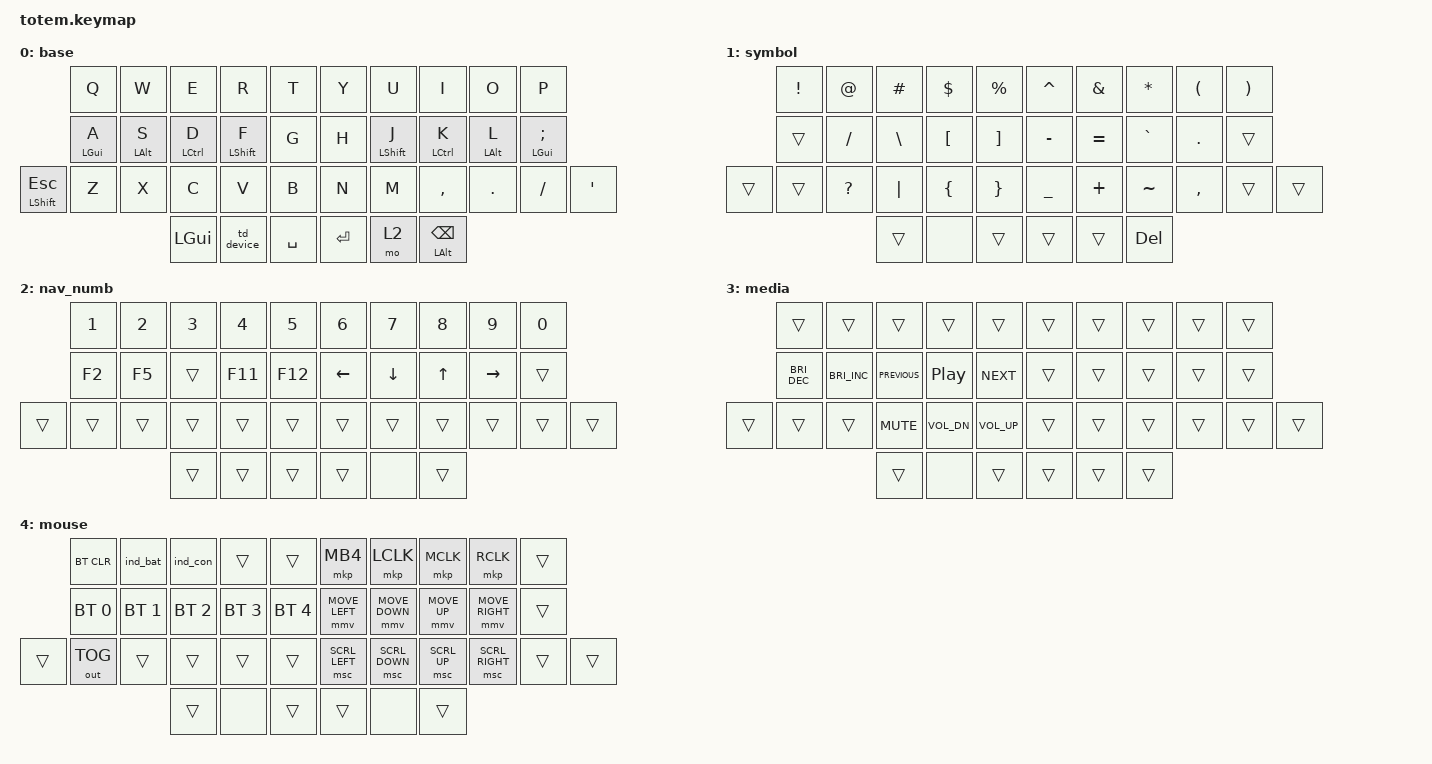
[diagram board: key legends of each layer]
//
//                                                        ▀▀▀▀▀     ▀▀▀▀▀          ▀▀█▀▀
//                                                        ▄▀▀▀▄  ▄  ▄▀▀▀▄  ▄  ▄▀▀▀▄  █  ▄▀▀▀▄
//                                                        █   █  █  █   █  █  █   █  █  █   █
//                                                         ▀▀▀   █   ▀▀▀   █   ▀▀▀   ▀   ▀▀▀
//                                                               █      ▄▄▄█▄▄▄    █   █
//                                                               ▀      █  █  █     █▄█
//                                                             ▀▀▀▀▀    █  █  █      ▀
//                                                                      ▀  ▀  ▀
//
// ▄▄▄▄▄▄▄▄▄▄▄▄▄▄▄▄▄▄▄▄▄▄▄▄▄▄▄▄▄▄▄▄▄▄▄▄▄▄▄▄▄▄▄▄▄▄▄▄▄▄▄▄▄▄▄▄▄▄▄▄▄▄▄▄▄▄▄▄▄▄▄▄▄▄▄▄▄▄▄▄▄▄▄▄▄▄▄▄▄▄▄▄▄▄▄▄▄▄▄▄▄▄▄▄▄▄▄▄▄▄▄▄▄▄▄▄▄▄▄▄▄▄▄▄▄▄▄▄▄▄▄▄▄▄▄▄▄▄▄▄▄▄▄▄▄▄▄▄▄

#include <behaviors.dtsi>
#include <dt-bindings/zmk/bt.h>
#include <dt-bindings/zmk/keys.h>
#include <dt-bindings/zmk/outputs.h>
#include <dt-bindings/zmk/pointing.h>
#include <behaviors/rgbled_widget.dtsi>

&mmv {
    time-to-max-speed-ms = <100>;
    acceleration-exponent = <1>;
    delay-ms = <0>;
};

&msc {
    time-to-max-speed-ms = <100>;
    acceleration-exponent = <12>;
    delay-ms = <0>;
};

/ {
    combos {
        compatible = "zmk,combos";

        tab_combo {
            bindings = <&kp TAB>;
            key-positions = <0 1>;
            slow-release;
            layers = <0>;
        };

        ctr_a_combo {
            bindings = <&kp LC(A)>;
            key-positions = <11 12>;
            slow-release;
            layers = <0>;
        };

        ctr_w_combo {
            bindings = <&kp LC(W)>;
            key-positions = <1 2>;
            slow-release;
            layers = <0>;
        };

        bks_combo {
            bindings = <&kp BACKSPACE>;
            key-positions = <16 17>;
            slow-release;
            layers = <0>;
        };

        del_combo {
            bindings = <&kp DELETE>;
            key-positions = <18 19>;
            slow-release;
            layers = <0>;
        };

        home_combo {
            bindings = <&kp HOME>;
            key-positions = <15 16>;
            slow-release;
            layers = <0>;
        };

        end_combo {
            bindings = <&kp END>;
            key-positions = <17 18>;
            slow-release;
            layers = <0>;
        };

        pgup_combo {
            bindings = <&kp PG_UP>;
            key-positions = <5 6>;
            slow-release;
            layers = <0>;
        };

        pgdown_combo {
            bindings = <&kp PAGE_DOWN>;
            key-positions = <26 27>;
            slow-release;
            layers = <0>;
        };

        esc_combo {
            bindings = <&kp ESCAPE>;
            key-positions = <10 11>;
        };
    };

    behaviors {
        hrm_left: hrm_left {
            compatible = "zmk,behavior-hold-tap";
            label = "HRM_LEFT";
            bindings = <&kp>, <&kp>;

            #binding-cells = <2>;
            tapping-term-ms = <250>;
            require-prior-idle-ms = <100>;
            flavor = "balanced";
            hold-trigger-on-release;
            hold-trigger-key-positions = <5 6 7 8 9 15 16 17 18 19 26 27 28 29 30 31 35 36 37>;
            quick-tap-ms = <150>;
        };

        hrm_right: hrm_right {
            compatible = "zmk,behavior-hold-tap";
            label = "HRM_RIGHT";
            bindings = <&kp>, <&kp>;

            #binding-cells = <2>;
            tapping-term-ms = <250>;
            require-prior-idle-ms = <100>;
            flavor = "balanced";
            hold-trigger-on-release;
            hold-trigger-key-positions = <0 1 2 3 4 10 11 12 13 14 20 21 22 23 24 25 32 33 34>;
            quick-tap-ms = <150>;
        };

        ht_mod: ht_mod {
            compatible = "zmk,behavior-hold-tap";
            label = "HT_MOD";
            bindings = <&kp>, <&kp>;

            #binding-cells = <2>;
            tapping-term-ms = <215>;
            require-prior-idle-ms = <100>;
            flavor = "balanced";
        };

        td_device: td_device {
            compatible = "zmk,behavior-tap-dance";
            label = "TD_DEVICE";
            #binding-cells = <0>;
            bindings = <&mo 1>, <&mo 3>;
        };
    };

    keymap {
        compatible = "zmk,keymap";

        base {
            bindings = <
                       &kp Q                 &kp W                 &kp E                     &kp R                   &kp T        &kp Y      &kp U                    &kp I                      &kp O                  &kp P
                       &hrm_left LEFT_GUI A  &hrm_left LEFT_ALT S  &hrm_left LEFT_CONTROL D  &hrm_left LEFT_SHIFT F  &kp G        &kp H      &hrm_right LEFT_SHIFT J  &hrm_right LEFT_CONTROL K  &hrm_right LEFT_ALT L  &hrm_right LEFT_GUI SEMICOLON
&mt LEFT_SHIFT ESCAPE  &kp Z                 &kp X                 &kp C                     &kp V                   &kp B        &kp N      &kp M                    &kp COMMA                  &kp DOT                &kp FSLH                       &kp APOS
                                                                   &kp LGUI                  &td_device              &kp SPACE    &kp ENTER  &mo 2                    &mt LEFT_ALT BACKSPACE
            >;
        };

        symbol {
            bindings = <
        &kp EXCLAMATION  &kp AT_SIGN   &kp POUND      &kp DOLLAR        &kp PERCENT          &kp CARET  &kp AMPERSAND  &kp ASTERISK  &kp LEFT_PARENTHESIS  &kp RIGHT_PARENTHESIS
        &trans           &kp SLASH     &kp BACKSLASH  &kp LEFT_BRACKET  &kp RIGHT_BRACKET    &kp MINUS  &kp EQUAL      &kp GRAVE     &kp PERIOD            &trans
&trans  &trans           &kp QUESTION  &kp PIPE       &kp LEFT_BRACE    &kp RIGHT_BRACE      &kp UNDER  &kp PLUS       &kp TILDE     &kp COMMA             &trans                 &trans
                                       &trans         &none             &trans               &trans     &trans         &kp DELETE
            >;
        };

        nav_numb {
            bindings = <
        &kp NUMBER_1  &kp NUMBER_2  &kp NUMBER_3  &kp NUMBER_4  &kp N5     &kp NUMBER_6    &kp N7          &kp N8        &kp N9           &kp N0
        &kp F2        &kp F5        &trans        &kp F11       &kp F12    &kp LEFT_ARROW  &kp DOWN_ARROW  &kp UP_ARROW  &kp RIGHT_ARROW  &trans
&trans  &trans        &trans        &trans        &trans        &trans     &trans          &trans          &trans        &trans           &trans  &trans
                                    &trans        &trans        &trans     &trans          &none           &trans
            >;
        };

        media {
            bindings = <
        &trans                &trans                &trans          &trans            &trans             &trans  &trans  &trans  &trans  &trans
        &kp C_BRIGHTNESS_DEC  &kp C_BRIGHTNESS_INC  &kp C_PREVIOUS  &kp C_PLAY_PAUSE  &kp C_NEXT         &trans  &trans  &trans  &trans  &trans
&trans  &trans                &trans                &kp C_MUTE      &kp C_VOL_DN      &kp C_VOLUME_UP    &trans  &trans  &trans  &trans  &trans  &trans
                                                    &trans          &none             &trans             &trans  &trans  &trans
            >;
        };

        mouse {
            bindings = <
        &bt BT_CLR    &ind_bat &ind_con &trans        &trans          &mkp MB4        &mkp LCLK       &mkp MCLK     &mkp RCLK        &trans
        &bt BT_SEL 0  &bt BT_SEL 1  &bt BT_SEL 2  &bt BT_SEL 3  &bt BT_SEL 4    &mmv MOVE_LEFT  &mmv MOVE_DOWN  &mmv MOVE_UP  &mmv MOVE_RIGHT  &trans
&trans  &out OUT_TOG  &trans        &trans        &trans        &trans          &msc SCRL_LEFT  &msc SCRL_DOWN  &msc SCRL_UP  &msc SCRL_RIGHT  &trans  &trans
                                    &trans        &none         &trans          &trans          &none           &trans
            >;
        };
    };

    conditional_layers {
        compatible = "zmk,conditional-layers";

        device {
            if-layers = <1 2>;
            then-layer = <4>;
        };
    };
};
